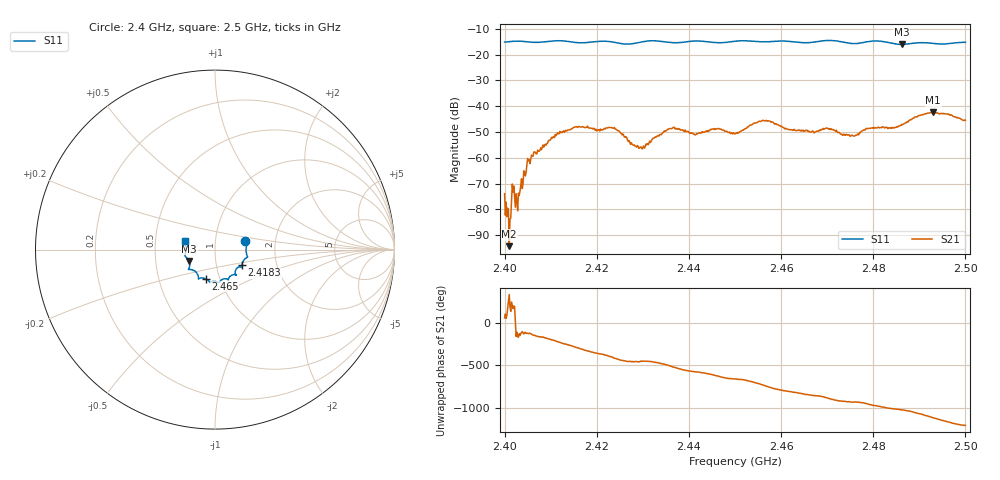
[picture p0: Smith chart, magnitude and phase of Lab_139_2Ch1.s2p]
# Hz S RI R
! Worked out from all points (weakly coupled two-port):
!   601 points, 2.4 GHz to 2.5 GHz, reference 50 ohm
!   highest |S21| = -42.42 dB at 2.493 GHz (marker M1); lowest = -94.2 dB at 2.401 GHz (marker M2)
!   lowest |S11| = -16.0 dB at 2.4862 GHz (marker M3), VSWR 1.37, Z = 37.1 - j4.82 ohm
!   |S11| at or under -10 dB: start of sweep to end of sweep
!   S12 and S22 are empty: the file has one direction only
!   S11 on the Smith chart (normalised r, x): 2.4 GHz: 1.40, +0.13; 2.4183 GHz: 1.33, -0.24; 2.465 GHz: 0.86, -0.29; 2.5 GHz: 0.71, +0.07
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2.4e9  0.1691 0.046  0.000103 0.000173  0 0  0 0
2.401e9  0.1746 0.0403  1.72e-05 -9e-06  0 0  0 0
2.402e9  0.1784 0.0365  -0.000269 -9.13e-05  0 0  0 0
2.402833e9  0.18 0.0332  -9.14e-05 -2.33e-05  0 0  0 0
2.404667e9  0.1771 0.0218  -0.000287 -0.00044  0 0  0 0
2.406167e9  0.1732 0.00676  -0.000872 -0.000636  0 0  0 0
2.4115e9  0.1814 -0.0406  -0.00229 0.00204  0 0  0 0
2.416667e9  0.1555 -0.0683  0.0025 0.00312  0 0  0 0
2.418333e9  0.1501 -0.0873  0.00342 0.00164  0 0  0 0
2.423667e9  0.1447 -0.0969  0.00224 -0.00301  0 0  0 0
2.4295e9  0.1131 -0.133  -8.52e-05 -0.00163  0 0  0 0
2.433333e9  0.1171 -0.1413  -0.000931 -0.00255  0 0  0 0
2.436333e9  0.0964 -0.1415  -0.00339 -0.00152  0 0  0 0
2.45e9  0.0253 -0.1805  0.00147 0.00249  0 0  0 0
2.456333e9  -0.00384 -0.1774  0.00503 -0.00139  0 0  0 0
2.465e9  -0.0527 -0.1621  -0.00148 -0.00293  0 0  0 0
2.466667e9  -0.0713 -0.1577  -0.00205 -0.00247  0 0  0 0
2.4755e9  -0.1059 -0.1252  -0.0023 0.00148  0 0  0 0
2.483333e9  -0.1421 -0.0959  0.000889 0.00371  0 0  0 0
2.486167e9  -0.1445 -0.0633  0.00249 0.00369  0 0  0 0
2.493e9  -0.1644 -0.0191  0.00609 -0.0045  0 0  0 0
2.5e9  -0.1669 0.047  -0.00318 -0.00431  0 0  0 0
